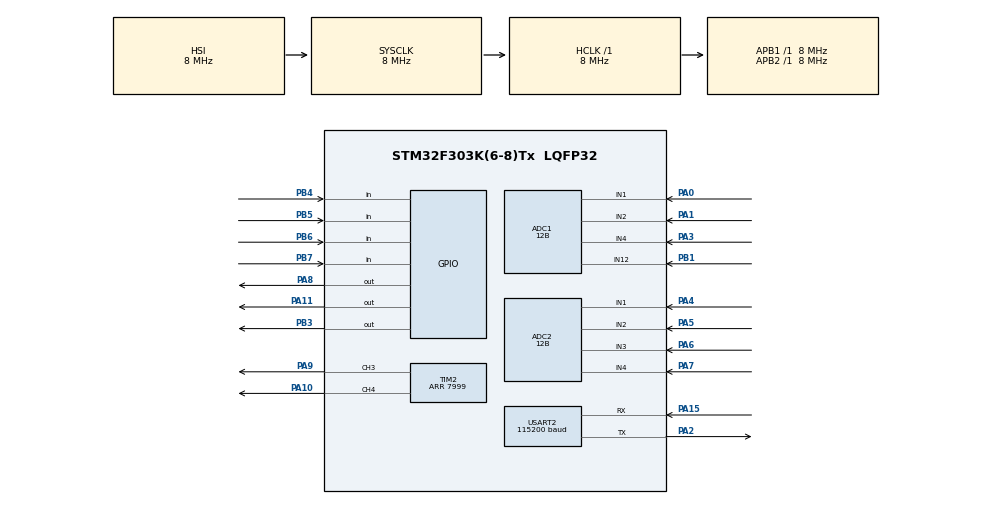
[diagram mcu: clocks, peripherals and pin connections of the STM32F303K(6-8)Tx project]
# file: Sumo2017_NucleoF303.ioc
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ADC1.Channel-0\#ChannelRegularConversion=ADC_CHANNEL_1
ADC1.Channel-1\#ChannelRegularConversion=ADC_CHANNEL_2
ADC1.Channel-2\#ChannelRegularConversion=ADC_CHANNEL_4
ADC1.Channel-3\#ChannelRegularConversion=ADC_CHANNEL_12
ADC1.ClockPrescaler=ADC_CLOCK_SYNC_PCLK_DIV1
ADC1.ContinuousConvMode=DISABLE
ADC1.DMAContinuousRequests=DISABLE
ADC1.DataAlign=ADC_DATAALIGN_RIGHT
ADC1.DiscontinuousConvMode=DISABLE
ADC1.EOCSelection=ADC_EOC_SEQ_CONV
ADC1.EnableAnalogWatchDog1=false
ADC1.EnableAnalogWatchDog2=false
ADC1.EnableAnalogWatchDog3=false
ADC1.EnableInjectedConversion=DISABLE
ADC1.EnableRegularConversion=ENABLE
ADC1.ExternalTrigConv=ADC_SOFTWARE_START
ADC1.ExternalTrigConvEdge=ADC_EXTERNALTRIGCONVEDGE_NONE
ADC1.LowPowerAutoWait=DISABLE
ADC1.NbrOfConversion=4
ADC1.NbrOfConversionFlag=1
ADC1.Offset-0\#ChannelRegularConversion=0
ADC1.Offset-1\#ChannelRegularConversion=0
ADC1.Offset-2\#ChannelRegularConversion=0
ADC1.Offset-3\#ChannelRegularConversion=0
ADC1.OffsetNumber-0\#ChannelRegularConversion=ADC_OFFSET_NONE
ADC1.OffsetNumber-1\#ChannelRegularConversion=ADC_OFFSET_NONE
ADC1.OffsetNumber-2\#ChannelRegularConversion=ADC_OFFSET_NONE
ADC1.OffsetNumber-3\#ChannelRegularConversion=ADC_OFFSET_NONE
ADC1.Overrun=ADC_OVR_DATA_OVERWRITTEN
ADC1.Rank-0\#ChannelRegularConversion=1
ADC1.Rank-1\#ChannelRegularConversion=2
ADC1.Rank-2\#ChannelRegularConversion=3
ADC1.Rank-3\#ChannelRegularConversion=4
ADC1.Resolution=ADC_RESOLUTION_12B
ADC1.SamplingTime-0\#ChannelRegularConversion=ADC_SAMPLETIME_601CYCLES_5
ADC1.SamplingTime-1\#ChannelRegularConversion=ADC_SAMPLETIME_601CYCLES_5
ADC1.SamplingTime-2\#ChannelRegularConversion=ADC_SAMPLETIME_601CYCLES_5
ADC1.SamplingTime-3\#ChannelRegularConversion=ADC_SAMPLETIME_601CYCLES_5
ADC1.ScanConvMode=ADC_SCAN_ENABLE
ADC1.SubFamily=STM32F303x8
ADC1.master=1
ADC2.Channel-0\#ChannelRegularConversion=ADC_CHANNEL_1
ADC2.Channel-1\#ChannelRegularConversion=ADC_CHANNEL_2
ADC2.Channel-2\#ChannelRegularConversion=ADC_CHANNEL_3
ADC2.Channel-3\#ChannelRegularConversion=ADC_CHANNEL_4
ADC2.ContinuousConvMode=DISABLE
ADC2.DMAContinuousRequests=DISABLE
ADC2.DataAlign=ADC_DATAALIGN_RIGHT
ADC2.DiscontinuousConvMode=DISABLE
ADC2.EOCSelection=ADC_EOC_SEQ_CONV
ADC2.EnableAnalogWatchDog1=false
ADC2.EnableAnalogWatchDog2=false
ADC2.EnableAnalogWatchDog3=false
ADC2.EnableInjectedConversion=ENABLE
ADC2.EnableRegularConversion=ENABLE
ADC2.ExternalTrigConv=ADC_SOFTWARE_START
ADC2.ExternalTrigConvEdge=ADC_EXTERNALTRIGCONVEDGE_NONE
ADC2.InjNumberOfConversion=0
ADC2.LowPowerAutoWait=DISABLE
ADC2.NbrOfConversion=4
ADC2.NbrOfConversionFlag=1
ADC2.Offset-0\#ChannelRegularConversion=0
ADC2.Offset-1\#ChannelRegularConversion=0
ADC2.Offset-2\#ChannelRegularConversion=0
ADC2.Offset-3\#ChannelRegularConversion=0
ADC2.OffsetNumber-0\#ChannelRegularConversion=ADC_OFFSET_NONE
ADC2.OffsetNumber-1\#ChannelRegularConversion=ADC_OFFSET_NONE
ADC2.OffsetNumber-2\#ChannelRegularConversion=ADC_OFFSET_NONE
ADC2.OffsetNumber-3\#ChannelRegularConversion=ADC_OFFSET_NONE
ADC2.Overrun=ADC_OVR_DATA_OVERWRITTEN
ADC2.Rank-0\#ChannelRegularConversion=1
ADC2.Rank-1\#ChannelRegularConversion=2
ADC2.Rank-2\#ChannelRegularConversion=3
ADC2.Rank-3\#ChannelRegularConversion=4
ADC2.Resolution=ADC_RESOLUTION_12B
ADC2.SamplingTime-0\#ChannelRegularConversion=ADC_SAMPLETIME_601CYCLES_5
ADC2.SamplingTime-1\#ChannelRegularConversion=ADC_SAMPLETIME_601CYCLES_5
ADC2.SamplingTime-2\#ChannelRegularConversion=ADC_SAMPLETIME_601CYCLES_5
ADC2.SamplingTime-3\#ChannelRegularConversion=ADC_SAMPLETIME_601CYCLES_5
ADC2.ScanConvMode=ADC_SCAN_ENABLE
ADC2.SubFamily=STM32F303x8
Dma.ADC1.2.Direction=DMA_PERIPH_TO_MEMORY
Dma.ADC1.2.Instance=DMA1_Channel1
Dma.ADC1.2.MemDataAlignment=DMA_MDATAALIGN_WORD
Dma.ADC1.2.MemInc=DMA_MINC_ENABLE
Dma.ADC1.2.Mode=DMA_CIRCULAR
Dma.ADC1.2.PeriphDataAlignment=DMA_PDATAALIGN_WORD
Dma.ADC1.2.PeriphInc=DMA_PINC_DISABLE
Dma.ADC1.2.Priority=DMA_PRIORITY_LOW
Dma.ADC2.1.Direction=DMA_PERIPH_TO_MEMORY
Dma.ADC2.1.Instance=DMA1_Channel2
Dma.ADC2.1.MemDataAlignment=DMA_MDATAALIGN_WORD
Dma.ADC2.1.MemInc=DMA_MINC_ENABLE
Dma.ADC2.1.Mode=DMA_CIRCULAR
Dma.ADC2.1.PeriphDataAlignment=DMA_PDATAALIGN_WORD
Dma.ADC2.1.PeriphInc=DMA_PINC_DISABLE
Dma.ADC2.1.Priority=DMA_PRIORITY_LOW
Dma.Request0=USART2_RX
Dma.Request1=ADC2
Dma.Request2=ADC1
Dma.USART2_RX.0.Direction=DMA_PERIPH_TO_MEMORY
Dma.USART2_RX.0.Instance=DMA1_Channel6
Dma.USART2_RX.0.MemDataAlignment=DMA_MDATAALIGN_BYTE
Dma.USART2_RX.0.MemInc=DMA_MINC_DISABLE
Dma.USART2_RX.0.Mode=DMA_CIRCULAR
Dma.USART2_RX.0.PeriphDataAlignment=DMA_PDATAALIGN_BYTE
Dma.USART2_RX.0.PeriphInc=DMA_PINC_DISABLE
Dma.USART2_RX.0.Priority=DMA_PRIORITY_LOW
Mcu.Family=STM32F3
Mcu.Name=STM32F303K(6-8)Tx
Mcu.Package=LQFP32
NVIC.DMA1_Channel1_IRQn=true\:0\:0\:false\:false\:true
NVIC.DMA1_Channel2_IRQn=true\:0\:0\:false\:false\:true
NVIC.DMA1_Channel6_IRQn=true\:0\:0\:false\:false\:true
NVIC.PriorityGroup=NVIC_PRIORITYGROUP_4
NVIC.USART2_IRQn=true\:0\:0\:false\:false\:true
PA0.Mode=IN1-Single-Ended
PA0.Signal=ADC1_IN1
PA1.Mode=IN2-Single-Ended
PA1.Signal=ADC1_IN2
PA10.Signal=S_TIM2_CH4
PA11.Signal=GPIO_Output
PA13.GPIO_Label=SWDIO
PA13.Signal=SYS_JTMS-SWDIO
PA14.GPIO_Label=SWCLK
PA14.Signal=SYS_JTCK-SWCLK
PA15.Mode=Asynchronous
PA15.Signal=USART2_RX
PA2.Mode=Asynchronous
PA2.Signal=USART2_TX
PA3.Mode=IN4-Single-Ended
PA3.Signal=ADC1_IN4
PA4.Mode=IN1-Single-Ended
PA4.Signal=ADC2_IN1
PA5.Mode=IN2-Single-Ended
PA5.Signal=ADC2_IN2
PA6.Mode=IN3-Single-Ended
PA6.Signal=ADC2_IN3
PA7.Mode=IN4-Single-Ended
PA7.Signal=ADC2_IN4
PA8.Signal=GPIO_Output
PA9.Signal=S_TIM2_CH3
PB1.Mode=IN12-Single-Ended
PB1.Signal=ADC1_IN12
PB3.Signal=GPIO_Output
PB4.Signal=GPIO_Input
PB5.Signal=GPIO_Input
PB6.Signal=GPIO_Input
PB7.Signal=GPIO_Input
PF0\ /\ OSC_IN.GPIO_Label=MCO
PF0\ /\ OSC_IN.Signal=RCC_OSC_IN
ProjectManager.HeapSize=0x200
ProjectManager.StackSize=0x400
ProjectManager.TargetToolchain=SW4STM32
RCC.ADC12PRES=RCC_ADC12PLLCLK_DIV256
RCC.AHBFreq_Value=8000000
RCC.APB1Freq_Value=8000000
RCC.APB1TimFreq_Value=8000000
RCC.APB2Freq_Value=8000000
RCC.APB2TimFreq_Value=8000000
RCC.CortexFreq_Value=8000000
RCC.HCLKFreq_Value=8000000
RCC.HSE_VALUE=8000000
RCC.HSI_VALUE=8000000
RCC.PLLMUL=RCC_PLL_MUL4
RCC.SYSCLKFreq_VALUE=8000000
SH.S_TIM2_CH3.0=TIM2_CH3,PWM Generation3 CH3
SH.S_TIM2_CH4.0=TIM2_CH4,PWM Generation4 CH4
TIM2.Channel-PWM\ Generation3\ CH3=TIM_CHANNEL_3
TIM2.Channel-PWM\ Generation4\ CH4=TIM_CHANNEL_4
TIM2.Period=7999
USART2.BaudRate=115200
USART2.VirtualMode-Asynchronous=VM_ASYNC
USART2.WordLength=WORDLENGTH_8B
board=NUCLEO-F303K8

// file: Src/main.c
/**
  ******************************************************************************
  * File Name          : main.c
  * Description        : Main program body
  ******************************************************************************
  ** This notice applies to any and all portions of this file
  * that are not between comment pairs USER CODE BEGIN and
  * USER CODE END. Other portions of this file, whether
  * inserted by the user or by software development tools
  * are owned by their respective copyright owners.
  *
  * COPYRIGHT(c) 2017 STMicroelectronics
  *
  * Redistribution and use in source and binary forms, with or without modification,
  * are permitted provided that the following conditions are met:
  *   1. Redistributions of source code must retain the above copyright notice,
  *      this list of conditions and the following disclaimer.
  *   2. Redistributions in binary form must reproduce the above copyright notice,
  *      this list of conditions and the following disclaimer in the documentation
  *      and/or other materials provided with the distribution.
  *   3. Neither the name of STMicroelectronics nor the names of its contributors
  *      may be used to endorse or promote products derived from this software
  *      without specific prior written permission.
  *
  * THIS SOFTWARE IS PROVIDED BY THE COPYRIGHT HOLDERS AND CONTRIBUTORS "AS IS"
  * AND ANY EXPRESS OR IMPLIED WARRANTIES, INCLUDING, BUT NOT LIMITED TO, THE
  * IMPLIED WARRANTIES OF MERCHANTABILITY AND FITNESS FOR A PARTICULAR PURPOSE ARE
  * DISCLAIMED. IN NO EVENT SHALL THE COPYRIGHT HOLDER OR CONTRIBUTORS BE LIABLE
  * FOR ANY DIRECT, INDIRECT, INCIDENTAL, SPECIAL, EXEMPLARY, OR CONSEQUENTIAL
  * DAMAGES (INCLUDING, BUT NOT LIMITED TO, PROCUREMENT OF SUBSTITUTE GOODS OR
  * SERVICES; LOSS OF USE, DATA, OR PROFITS; OR BUSINESS INTERRUPTION) HOWEVER
  * CAUSED AND ON ANY THEORY OF LIABILITY, WHETHER IN CONTRACT, STRICT LIABILITY,
  * OR TORT (INCLUDING NEGLIGENCE OR OTHERWISE) ARISING IN ANY WAY OUT OF THE USE
  * OF THIS SOFTWARE, EVEN IF ADVISED OF THE POSSIBILITY OF SUCH DAMAGE.
  *
  ******************************************************************************
  */
#include "main.h"
#include "stm32f3xx_hal.h"

/* USER CODE BEGIN Includes */
#include "dwt_stm32_delay.h"
/* USER CODE END Includes */

ADC_HandleTypeDef hadc1;
ADC_HandleTypeDef hadc2;
DMA_HandleTypeDef hdma_adc1;
DMA_HandleTypeDef hdma_adc2;

TIM_HandleTypeDef htim2;

UART_HandleTypeDef huart2;
DMA_HandleTypeDef hdma_usart2_rx;

/* USER CODE BEGIN PV */
/* Private variables ---------------------------------------------------------*/

uint32_t IRSensors[8];

/* USER CODE END PV */

void SystemClock_Config(void);
static void MX_GPIO_Init(void);
static void MX_DMA_Init(void);
static void MX_USART2_UART_Init(void);
static void MX_ADC1_Init(void);
static void MX_ADC2_Init(void);
static void MX_TIM2_Init(void);

void HAL_TIM_MspPostInit(TIM_HandleTypeDef *htim);

/* USER CODE BEGIN PFP */
/* Private function prototypes -----------------------------------------------*/

/* USER CODE END PFP */

int main(void)
{

  /* MCU Configuration----------------------------------------------------------*/

  /* Reset of all peripherals, Initializes the Flash interface and the Systick. */
  HAL_Init();

  /* Configure the system clock */
  SystemClock_Config();

  /* Initialize all configured peripherals */
  MX_GPIO_Init();
  MX_DMA_Init();
  MX_USART2_UART_Init();
  MX_ADC1_Init();
  MX_ADC2_Init();
  MX_TIM2_Init();

  /* USER CODE BEGIN 2 */

  if(DWT_Delay_Init())
  {
    Error_Handler(); /* Call Error Handler */
  }

  // Temp test stuff
  GPIO_PinState pinState;
  uint32_t LineSensorStopwatch = HAL_GetTick();
  //changePinMode(GPIO_MODE_OUTPUT_PP);
  uint32_t LineSensorPollPeriod_ms = 500;
  uint32_t LineSensorDelayCharge_us = 10;
  uint32_t LineSensorDelay_us = 200;
  // End of temp stuff

  // Create the sensorStares variable TODO: REMOVE TO HEADER
  SensorStates sensorStates;
  // Start ADC writing to DMA on scan complete
  HAL_ADC_Start_DMA(&hadc1, (uint32_t*)(sensorStates.IRSensors), 4);
  HAL_ADC_Start_DMA(&hadc2, (uint32_t*)(sensorStates.IRSensors)+4, 4);
  // Start the ADC
  HAL_ADC_Start(&hadc1);
  HAL_ADC_Start(&hadc2);

  HAL_UART_Receive_DMA(&huart2, &(RXCommand.rxByte), 1);

  // Initialise the motor strucutures
  L_motor.period = 7999;
  L_motor.pulseWidth = 0;
  L_motor.channel = MOTORS_PWM_CHANNEL_L;
  R_motor.period = 7999;
  R_motor.pulseWidth = 0;
  R_motor.channel = MOTORS_PWM_CHANNEL_R;

  // Start both channels of the PWM
  setMotorPWM(); // Make sure they start with zero duty cycle
  HAL_TIM_PWM_Start(&htim2, L_motor.channel);
  HAL_TIM_PWM_Start(&htim2, R_motor.channel);

  // Initialise variables
  uint32_t stopwatch = HAL_GetTick(); // Start the main loop timer
  uint32_t timerA; // Timer A and B are debugging timers
  uint32_t timerB;
  uint8_t buffer[200]; // Debug buffer

  // Transmit buffer

  int TXBufHeaderLen = 5;
  int TXBufFooterLen = 3;
  int TXDataLen = 4*8+8; //4*8+8+2;
  int TXBuffLen = TXBufHeaderLen +  TXBufFooterLen + TXDataLen;   //5+3+8*4+8;
  uint8_t TXBuff[TXBuffLen];
  uint8_t TXBuffHeader[] = {'s', 't', 'a', 'r', 't'};
  uint8_t TXBuffFooter[] = {'e', 'n', 'd'};

  RXCommand.headerLength = 5;
  RXCommand.footerLength = 3;
  memcpy(RXCommand.cmdHeader, TXBuffHeader, 5);
  memcpy(RXCommand.cmdFooter, TXBuffFooter, 3);
  //RXCommand.buff[5+3+11] = '\0';
  RXCommand.RXMotorsWatchdog = HAL_GetTick();

  // Copy in the head and footers
  memcpy(TXBuff, TXBuffHeader, 5);
  memcpy(TXBuff+5+TXDataLen, TXBuffFooter, 3);

  /* USER CODE END 2 */

  /* Infinite loop */
  /* USER CODE BEGIN WHILE */
  int attemptNo = 11;
  while (1)
  {
  /* USER CODE END WHILE */

  /* USER CODE BEGIN 3 */

	  if (HAL_GetTick() - stopwatch > 19)
	  {
		  // Toggle the indicator
		  HAL_GPIO_TogglePin(GPIOB, GPIO_PIN_3);

		  // Reset the stopwatch
		  stopwatch = HAL_GetTick();

		  // Check the watchdog timer. If it has expired then turn motors off.
		  if (HAL_GetTick() - RXCommand.RXMotorsWatchdog > MOTOR_WATCHDOG_MS)
		  {
			  L_motor.pulseWidth = 0;
			  R_motor.pulseWidth = 0;
		  }

		  // Update motor pwm
		  setMotorPWM();

		  // Update the state of the line sensors
		  //updateLineSensorState(&(sensorStates.LineSensors));

		  // Create the TX string. For loop places the bytes of the uint32_t IR sensor data into the string.
		  int i;
		  for (i = 0; i < TXDataLen; i++)
		  {
			  // If this is a multiple of 5 then it is the sensor identifier
			  if(i%5 == 0)
			  {
				  TXBuff[TXBufHeaderLen+i] = '0'+i/5;
			  }
			  // Otherwise it is data
			  else
			  {
				  TXBuff[TXBufHeaderLen+i] = (uint8_t)(sensorStates.IRSensors[(uint8_t)(i/5)] >> 8*(i%5-1) & 0xFF);
						  //'0'+(uint8_t)(i%5);//IRSensors[i/5];// >> 8 ;
			  }
		  }
		  // Almost done, just need to send the line sensor state byte.
		  //TXBuff[TXBufHeaderLen+i++] = 'l';
		  //TXBuff[TXBufHeaderLen+i] = sensorStates.LineSensors;

		  // TRansmit the TX string
		  HAL_UART_Transmit(&huart2, TXBuff, TXBuffLen, 0xFF);

		  /*			-------- DEBUGGING STUFF -------
		  changePinMode(GPIO_MODE_OUTPUT_PP);
		  DWT_Delay_us(LineSensorDelayCharge_us);
		  //LineSensorDelay_us_clkCycles = LineSensorDelay_us * 5 * (SystemCoreClock / 1000000) / 14;
		  //while (LineSensorDelay_us_clkCycles--);
		  changePinMode(GPIO_MODE_INPUT);//GPIO_MODE_INPUT GPIO_MODE_OUTPUT_PP
		  HAL_GPIO_TogglePin(GPIOB, GPIO_PIN_3);
		  //LineSensorDelay_us_clkCycles = 1 * (SystemCoreClock / 1000000) / 14;
		  DWT_Delay_us(LineSensorDelay_us);
		  HAL_GPIO_TogglePin(GPIOB, GPIO_PIN_3);
		  //while (LineSensorDelay_us_clkCycles--);

		  pinState = HAL_GPIO_ReadPin(GPIOB, GPIO_PIN_4);
*/

		  //sprintf((char*)buffer, "(%d)\t\tADC1- 1: %lu\t2: %lu\t4: %lu\t12: %lu\tADC2- 1: %lu\t2: %lu\t3: %lu\t4: %lu\t", attemptNo,
		  //		  				  IRSensors[0], IRSensors[1], IRSensors[2], IRSensors[3],
		  //						  IRSensors[4], IRSensors[5], IRSensors[6], IRSensors[7]);

		  //sprintf((char*)buffer, "5HI Guillaumemesd... delay = %lu, State = %d  ", LineSensorDelay_us, pinState);
		  //LineSensorDelay_us_clkCycles = (10000 / 14 * (SystemCoreClock / 1000000));
		  //LineSensorDelay_us_clkCycles = LineSensorDelay_us * (SystemCoreClock / 1000000) / 14;

// 			-------- END OF DEBUGGING STUFF -------

		  // DEBUGGING: Increment the pulse width
		  //L_motor.pulseWidth += 100;
		  //R_motor.pulseWidth += 200;
		  //L_motor.pulseWidth %= 7999;
		  //R_motor.pulseWidth %= 7999;

		  //HAL_UART_Transmit(&huart2, buffer, strlen((char*)buffer), 0xFF);
		  //HAL_UART_Transmit(&huart2, TXBuff, TXBuffLen, 0xFF);
		  timerA = timerB;
		  timerB = HAL_GetTick();

		  // The last thing we do is append a debug string.
		  // As far as any driver goes, this is just jibberish invalid ahit and will be ignored.
		  sprintf((char*)buffer, "<-- hi4 That took about %lums\tstrstate = %d\tL pwm = %ld\tR pwm = %ld \n\r", timerB-timerA, RXCommand.index, L_motor.pulseWidth, R_motor.pulseWidth);
		  //sprintf((char*)buffer, "<-- hi2 That took about %lums, rxIndex = %lu\tL_Motor = %#010x\t%s \n\r", timerB-timerA, RXCommand.index, L_motor.pulseWidth, RXCommand.buff);
				  //(char)L_motor.pulseWidth&0xFF, ((char)L_motor.pulseWidth >> 8)&0xFF, ((char)L_motor.pulseWidth >> 16)&0xFF, ((char)L_motor.pulseWidth >> 24)&0xFF);
		  HAL_UART_Transmit(&huart2, buffer, strlen((char*)buffer), 0xFF);

	  }
  }
  /* USER CODE END 3 */

}

/** System Clock Configuration
*/
void SystemClock_Config(void)
{

  RCC_OscInitTypeDef RCC_OscInitStruct;
  RCC_ClkInitTypeDef RCC_ClkInitStruct;

    /**Initializes the CPU, AHB and APB busses clocks
    */
  RCC_OscInitStruct.OscillatorType = RCC_OSCILLATORTYPE_HSI;
  RCC_OscInitStruct.HSIState = RCC_HSI_ON;
  RCC_OscInitStruct.HSICalibrationValue = 16;
  RCC_OscInitStruct.PLL.PLLState = RCC_PLL_NONE;
  if (HAL_RCC_OscConfig(&RCC_OscInitStruct) != HAL_OK)
  {
    _Error_Handler(__FILE__, __LINE__);
  }

    /**Initializes the CPU, AHB and APB busses clocks
    */
  RCC_ClkInitStruct.ClockType = RCC_CLOCKTYPE_HCLK|RCC_CLOCKTYPE_SYSCLK
                              |RCC_CLOCKTYPE_PCLK1|RCC_CLOCKTYPE_PCLK2;
  RCC_ClkInitStruct.SYSCLKSource = RCC_SYSCLKSOURCE_HSI;
  RCC_ClkInitStruct.AHBCLKDivider = RCC_SYSCLK_DIV1;
  RCC_ClkInitStruct.APB1CLKDivider = RCC_HCLK_DIV1;
  RCC_ClkInitStruct.APB2CLKDivider = RCC_HCLK_DIV1;

  if (HAL_RCC_ClockConfig(&RCC_ClkInitStruct, FLASH_LATENCY_0) != HAL_OK)
  {
    _Error_Handler(__FILE__, __LINE__);
  }

    /**Configure the Systick interrupt time
    */
  HAL_SYSTICK_Config(HAL_RCC_GetHCLKFreq()/1000);

    /**Configure the Systick
    */
  HAL_SYSTICK_CLKSourceConfig(SYSTICK_CLKSOURCE_HCLK);

  /* SysTick_IRQn interrupt configuration */
  HAL_NVIC_SetPriority(SysTick_IRQn, 0, 0);
}

/* ADC1 init function */
static void MX_ADC1_Init(void)
{

  ADC_MultiModeTypeDef multimode;
  ADC_ChannelConfTypeDef sConfig;

    /**Common config
    */
  hadc1.Instance = ADC1;
  hadc1.Init.ClockPrescaler = ADC_CLOCK_SYNC_PCLK_DIV1;
  hadc1.Init.Resolution = ADC_RESOLUTION_12B;
  hadc1.Init.ScanConvMode = ADC_SCAN_ENABLE;
  hadc1.Init.ContinuousConvMode = DISABLE;
  hadc1.Init.DiscontinuousConvMode = DISABLE;
  hadc1.Init.ExternalTrigConvEdge = ADC_EXTERNALTRIGCONVEDGE_NONE;
  hadc1.Init.ExternalTrigConv = ADC_SOFTWARE_START;
  hadc1.Init.DataAlign = ADC_DATAALIGN_RIGHT;
  hadc1.Init.NbrOfConversion = 4;
  hadc1.Init.DMAContinuousRequests = DISABLE;
  hadc1.Init.EOCSelection = ADC_EOC_SEQ_CONV;
  hadc1.Init.LowPowerAutoWait = DISABLE;
  hadc1.Init.Overrun = ADC_OVR_DATA_OVERWRITTEN;
  if (HAL_ADC_Init(&hadc1) != HAL_OK)
  {
    _Error_Handler(__FILE__, __LINE__);
  }

    /**Configure the ADC multi-mode
    */
  multimode.Mode = ADC_MODE_INDEPENDENT;
  if (HAL_ADCEx_MultiModeConfigChannel(&hadc1, &multimode) != HAL_OK)
  {
    _Error_Handler(__FILE__, __LINE__);
  }

    /**Configure Regular Channel
    */
  sConfig.Channel = ADC_CHANNEL_1;
  sConfig.Rank = 1;
  sConfig.SingleDiff = ADC_SINGLE_ENDED;
  sConfig.SamplingTime = ADC_SAMPLETIME_601CYCLES_5;
  sConfig.OffsetNumber = ADC_OFFSET_NONE;
  sConfig.Offset = 0;
  if (HAL_ADC_ConfigChannel(&hadc1, &sConfig) != HAL_OK)
  {
    _Error_Handler(__FILE__, __LINE__);
  }

    /**Configure Regular Channel
    */
  sConfig.Channel = ADC_CHANNEL_2;
  sConfig.Rank = 2;
  if (HAL_ADC_ConfigChannel(&hadc1, &sConfig) != HAL_OK)
  {
    _Error_Handler(__FILE__, __LINE__);
  }

    /**Configure Regular Channel
    */
  sConfig.Channel = ADC_CHANNEL_4;
  sConfig.Rank = 3;
  if (HAL_ADC_ConfigChannel(&hadc1, &sConfig) != HAL_OK)
  {
    _Error_Handler(__FILE__, __LINE__);
  }

    /**Configure Regular Channel
    */
  sConfig.Channel = ADC_CHANNEL_12;
  sConfig.Rank = 4;
  if (HAL_ADC_ConfigChannel(&hadc1, &sConfig) != HAL_OK)
  {
    _Error_Handler(__FILE__, __LINE__);
  }

}

/* ADC2 init function */
static void MX_ADC2_Init(void)
{

  ADC_ChannelConfTypeDef sConfig;

    /**Common config
    */
  hadc2.Instance = ADC2;
  hadc2.Init.ClockPrescaler = ADC_CLOCK_SYNC_PCLK_DIV1;
  hadc2.Init.Resolution = ADC_RESOLUTION_12B;
  hadc2.Init.ScanConvMode = ADC_SCAN_ENABLE;
  hadc2.Init.ContinuousConvMode = DISABLE;
  hadc2.Init.DiscontinuousConvMode = DISABLE;
  hadc2.Init.ExternalTrigConvEdge = ADC_EXTERNALTRIGCONVEDGE_NONE;
  hadc2.Init.ExternalTrigConv = ADC_SOFTWARE_START;
  hadc2.Init.DataAlign = ADC_DATAALIGN_RIGHT;
  hadc2.Init.NbrOfConversion = 4;
  hadc2.Init.DMAContinuousRequests = DISABLE;
  hadc2.Init.EOCSelection = ADC_EOC_SEQ_CONV;
  hadc2.Init.LowPowerAutoWait = DISABLE;
  hadc2.Init.Overrun = ADC_OVR_DATA_OVERWRITTEN;
  if (HAL_ADC_Init(&hadc2) != HAL_OK)
  {
    _Error_Handler(__FILE__, __LINE__);
  }

    /**Configure Regular Channel
    */
  sConfig.Channel = ADC_CHANNEL_1;
  sConfig.Rank = 1;
  sConfig.SingleDiff = ADC_SINGLE_ENDED;
  sConfig.SamplingTime = ADC_SAMPLETIME_601CYCLES_5;
  sConfig.OffsetNumber = ADC_OFFSET_NONE;
  sConfig.Offset = 0;
  if (HAL_ADC_ConfigChannel(&hadc2, &sConfig) != HAL_OK)
  {
    _Error_Handler(__FILE__, __LINE__);
  }

    /**Configure Regular Channel
    */
  sConfig.Channel = ADC_CHANNEL_2;
  sConfig.Rank = 2;
  if (HAL_ADC_ConfigChannel(&hadc2, &sConfig) != HAL_OK)
  {
    _Error_Handler(__FILE__, __LINE__);
  }

    /**Configure Regular Channel
    */
  sConfig.Channel = ADC_CHANNEL_3;
  sConfig.Rank = 3;
  if (HAL_ADC_ConfigChannel(&hadc2, &sConfig) != HAL_OK)
  {
    _Error_Handler(__FILE__, __LINE__);
  }

    /**Configure Regular Channel
    */
  sConfig.Channel = ADC_CHANNEL_4;
  sConfig.Rank = 4;
  if (HAL_ADC_ConfigChannel(&hadc2, &sConfig) != HAL_OK)
  {
    _Error_Handler(__FILE__, __LINE__);
  }

}

/* TIM2 init function */
static void MX_TIM2_Init(void)
{

  TIM_MasterConfigTypeDef sMasterConfig;
  TIM_OC_InitTypeDef sConfigOC;

  htim2.Instance = TIM2;
  htim2.Init.Prescaler = 0;
  htim2.Init.CounterMode = TIM_COUNTERMODE_UP;
  htim2.Init.Period = 7999;
  htim2.Init.ClockDivision = TIM_CLOCKDIVISION_DIV1;
  htim2.Init.AutoReloadPreload = TIM_AUTORELOAD_PRELOAD_DISABLE;
  if (HAL_TIM_PWM_Init(&htim2) != HAL_OK)
  {
    _Error_Handler(__FILE__, __LINE__);
  }

  sMasterConfig.MasterOutputTrigger = TIM_TRGO_RESET;
  sMasterConfig.MasterSlaveMode = TIM_MASTERSLAVEMODE_DISABLE;
  if (HAL_TIMEx_MasterConfigSynchronization(&htim2, &sMasterConfig) != HAL_OK)
  {
    _Error_Handler(__FILE__, __LINE__);
  }

  sConfigOC.OCMode = TIM_OCMODE_PWM1;
  sConfigOC.Pulse = 0;
  sConfigOC.OCPolarity = TIM_OCPOLARITY_HIGH;
  sConfigOC.OCFastMode = TIM_OCFAST_DISABLE;
  if (HAL_TIM_PWM_ConfigChannel(&htim2, &sConfigOC, TIM_CHANNEL_3) != HAL_OK)
  {
    _Error_Handler(__FILE__, __LINE__);
  }

  if (HAL_TIM_PWM_ConfigChannel(&htim2, &sConfigOC, TIM_CHANNEL_4) != HAL_OK)
  {
    _Error_Handler(__FILE__, __LINE__);
  }

  HAL_TIM_MspPostInit(&htim2);

}

/* USART2 init function */
static void MX_USART2_UART_Init(void)
{

  huart2.Instance = USART2;
  huart2.Init.BaudRate = 115200;
  huart2.Init.WordLength = UART_WORDLENGTH_8B;
  huart2.Init.StopBits = UART_STOPBITS_1;
  huart2.Init.Parity = UART_PARITY_NONE;
  huart2.Init.Mode = UART_MODE_TX_RX;
  huart2.Init.HwFlowCtl = UART_HWCONTROL_NONE;
  huart2.Init.OverSampling = UART_OVERSAMPLING_16;
  huart2.Init.OneBitSampling = UART_ONE_BIT_SAMPLE_DISABLE;
  huart2.AdvancedInit.AdvFeatureInit = UART_ADVFEATURE_NO_INIT;
  if (HAL_UART_Init(&huart2) != HAL_OK)
  {
    _Error_Handler(__FILE__, __LINE__);
  }

}

static void MX_DMA_Init(void)
{
  /* DMA controller clock enable */
  __HAL_RCC_DMA1_CLK_ENABLE();

  /* DMA interrupt init */
  /* DMA1_Channel1_IRQn interrupt configuration */
  HAL_NVIC_SetPriority(DMA1_Channel1_IRQn, 0, 0);
  HAL_NVIC_EnableIRQ(DMA1_Channel1_IRQn);
  /* DMA1_Channel2_IRQn interrupt configuration */
  HAL_NVIC_SetPriority(DMA1_Channel2_IRQn, 0, 0);
  HAL_NVIC_EnableIRQ(DMA1_Channel2_IRQn);
  /* DMA1_Channel6_IRQn interrupt configuration */
  HAL_NVIC_SetPriority(DMA1_Channel6_IRQn, 0, 0);
  HAL_NVIC_EnableIRQ(DMA1_Channel6_IRQn);

}

/** Configure pins as
        * Analog
        * Input
        * Output
        * EVENT_OUT
        * EXTI
*/
static void MX_GPIO_Init(void)
{

  GPIO_InitTypeDef GPIO_InitStruct;

  /* GPIO Ports Clock Enable */
  __HAL_RCC_GPIOF_CLK_ENABLE();
  __HAL_RCC_GPIOA_CLK_ENABLE();
  __HAL_RCC_GPIOB_CLK_ENABLE();

  /*Configure GPIO pin Output Level */
  HAL_GPIO_WritePin(GPIOA, GPIO_PIN_8|GPIO_PIN_11, GPIO_PIN_RESET);

  /*Configure GPIO pin Output Level */
  HAL_GPIO_WritePin(GPIOB, GPIO_PIN_3, GPIO_PIN_RESET);

  /*Configure GPIO pins : PA8 PA11 */
  GPIO_InitStruct.Pin = GPIO_PIN_8|GPIO_PIN_11;
  GPIO_InitStruct.Mode = GPIO_MODE_OUTPUT_PP;
  GPIO_InitStruct.Pull = GPIO_NOPULL;
  GPIO_InitStruct.Speed = GPIO_SPEED_FREQ_LOW;
  HAL_GPIO_Init(GPIOA, &GPIO_InitStruct);

  /*Configure GPIO pin : PB3 */
  GPIO_InitStruct.Pin = GPIO_PIN_3;
  GPIO_InitStruct.Mode = GPIO_MODE_OUTPUT_PP;
  GPIO_InitStruct.Pull = GPIO_NOPULL;
  GPIO_InitStruct.Speed = GPIO_SPEED_FREQ_LOW;
  HAL_GPIO_Init(GPIOB, &GPIO_InitStruct);

  /*Configure GPIO pins : PB4 PB5 PB6 PB7 */
  GPIO_InitStruct.Pin = GPIO_PIN_4|GPIO_PIN_5|GPIO_PIN_6|GPIO_PIN_7;
  GPIO_InitStruct.Mode = GPIO_MODE_INPUT;
  GPIO_InitStruct.Pull = GPIO_NOPULL;
  HAL_GPIO_Init(GPIOB, &GPIO_InitStruct);

}

/* USER CODE BEGIN 4 */

/**
 * Change the IR sensors form input to output or visa versa
 *
 */
void changePinMode(uint32_t mode)
{
	GPIO_InitTypeDef GPIO_InitStruct;
	/*Configure GPIO pins : PB3 PB4 PB5 PB6
	                         PB7 */
	GPIO_InitStruct.Pin = GPIO_PIN_4|GPIO_PIN_5|GPIO_PIN_6
	                        |GPIO_PIN_7;
	GPIO_InitStruct.Mode = mode;
	HAL_GPIO_Init(GPIOB, &GPIO_InitStruct);
}

/**
 * Check the state of the line sensors. Populate the object
 */
void updateLineSensorState(uint8_t *state)
{
	*state =	HAL_GPIO_ReadPin(LINE_SENSOR_PORT, LINE_SENSOR_PINA1) & 0x01
			|	(HAL_GPIO_ReadPin(LINE_SENSOR_PORT, LINE_SENSOR_PINA2) & 0x01) << 1
			|	(HAL_GPIO_ReadPin(LINE_SENSOR_PORT, LINE_SENSOR_PINB1) & 0x01) << 2
			|	(HAL_GPIO_ReadPin(LINE_SENSOR_PORT, LINE_SENSOR_PINB2) & 0x01) << 3;
}

/**
 * Just some abstraction to set PWM duty cycle.
 */
void setMotorPWM()
{
	//uint32_t L_dir = (L_motor.pulseWidth < 0) ? -1 : 1;
	//uint32_t R_dir = (R_motor.pulseWidth < 0) ? -1 : 1;

	HAL_GPIO_WritePin(MOTORS_DIR_PORT, MOTORS_DIR_PIN_L, (L_motor.pulseWidth < 0) ? GPIO_PIN_RESET : GPIO_PIN_SET);
	HAL_GPIO_WritePin(MOTORS_DIR_PORT, MOTORS_DIR_PIN_R, (R_motor.pulseWidth < 0) ? GPIO_PIN_RESET : GPIO_PIN_SET);

	TIM2->MOTORS_PWM_CCRx_L = (uint32_t)(abs(L_motor.pulseWidth));
	TIM2->MOTORS_PWM_CCRx_R = (uint32_t)(abs(R_motor.pulseWidth));
}

/**
 * Callback inside the serial character DMA.
 * Command structure:
 * 	Header: "start"
 * 	First Byte is Command Type
 * 		-! Set motor PWM
 * 	Payload
 * 		!'L'<uint32_t>'R'<uint32_t>
 * 	Footer: "end"
 *
 * 	Command Byte !motor PWM Payload: header!'0'<32bit>'1'<32bit>footer
 */
void parseCommand()
{
	// Check what command we received, parse it.
	switch (RXCommand.buff[RXCommand.headerLength]) // Switching the command byte
	{
	case '!': // Set motor speed
		RXCommand.RXMotorsWatchdog = HAL_GetTick();
		L_motor.pulseWidth = 0x00000000;
		R_motor.pulseWidth = 0x00000000;
		for (int i=0; i<4;i++)
		{
			L_motor.pulseWidth |= ((int32_t)RXCommand.buff[RXCommand.headerLength+2+i] & 0xFF) << i*8;
			R_motor.pulseWidth |= ((int32_t)RXCommand.buff[RXCommand.headerLength+7+i] & 0xFF) << i*8;
		}
		//L_motor.pulseWidth = RXCommand.buff[RXCommand.headerLength+1+1] | (RXCommand.buff[RXCommand.headerLength+1+2] & 0xFF) << 8 | (RXCommand.buff[RXCommand.headerLength+1+3] & 0xFF) << 16 | (RXCommand.buff[RXCommand.headerLength+1+4] & 0xFF) << 24;
		break;
	default:
		break;
	}
	resetCommandStruct();
	//L_motor.pulseWidth += 100;
	//L_motor.pulseWidth %= 7800;
}

/**
 * Reset the command byte back to its default state
 */
void resetCommandStruct()
{
	RXCommand.index = 0;
	RXCommand.cmdLength = RXCommand.headerLength + RXCommand.footerLength;
}

/* USER CODE END 4 */

void _Error_Handler(char * file, int line)
{
  while(1)
  {
  }
}

/************************ (C) COPYRIGHT STMicroelectronics *****END OF FILE****/
